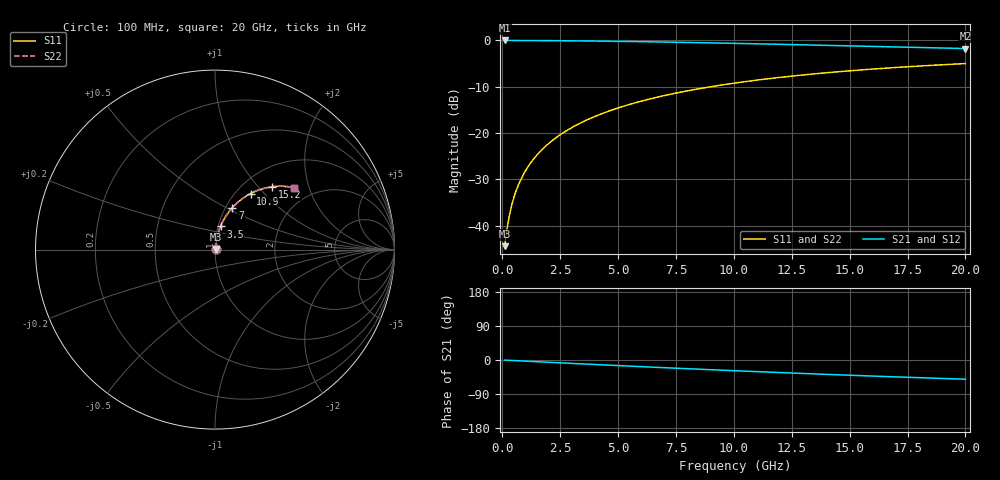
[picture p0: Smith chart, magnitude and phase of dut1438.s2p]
! Touchstone file exported from HFSS 2026.1.0
!  File:  C:/ffzhzh/LocalFiles/Ansys_Project_Files/temp_train_BSMRDL_1438_1783180516_22436.aedt
!  Generated:  11:56:35 PM Jul  4, 2026
!  Design:  BSMRDL
!  Project:  temp_train_BSMRDL_1438_1783180516_22436
! Variables:
!  h_bsmrdl = 4.55um
!  h_ox = 20um
!  h_rdl = 5um
!  h_sub = 80um
!  h_tmrdl = 5um
!  h_tsv = 80um
!  h_via = 3um
!  l_bsmrdl = 685.64um
!  l_sub = 1085.64um
!  l_tmrdl = 200um
!  m_sub = 200um
!  pitch = 53.37um
!  r_tsv = 6um
!  s_tmrdl = 10um
!  w_bsmrdl = 11.79um
!  w_sub = 500um
!  w_tmrdl = 12um
!  x_tsv_center1 = 206um
!  x_tsv_center2 = 903.43um
!  x_tsv_center3 = 1115.43um
!  x_tsv_center4 = 1812.86um
!  x_tsv_center5 = 2024.86um
!  x_tsv_center6 = 2722.29um
# GHz S MA R 50.000000
! Terminal data exported
! Port[1] = BSM_RDL1_1_T1
! Port[2] = BSM_RDL1_1_T2
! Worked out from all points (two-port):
!   200 points, 100 MHz to 20 GHz, reference 50 ohm
!   highest |S21| = -0.04 dB at 100 MHz (marker M1); lowest = -1.8 dB at 20 GHz (marker M2)
!   |S21| within 3 dB of the highest: start of sweep to end of sweep
!   lowest |S11| = -44.4 dB at 100 MHz (marker M3), VSWR 1.01, Z = 50.5 + j0.4 ohm
!   |S11| at or under -10 dB: start of sweep to 9.016 GHz
!   |S22| runs from -44.4 to -5.0 dB; largest |S21 - S12| = 4.5e-15
!   S11 on the Smith chart (normalised r, x): 100 MHz: 1.01, +0.01; 3.5 GHz: 1.03, +0.27; 7 GHz: 1.08, +0.54; 10.9 GHz: 1.17, +0.84; 15.2 GHz: 1.32, +1.19; 20 GHz: 1.60, +1.60
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0.1  0.006043 41.0  0.9955 -0.3  0.9955 -0.3  0.006043 41.0
! Gamma 0 0 0 0
! Port Impedance 50 0 50 0
0.2  0.009186 59.2  0.9954 -0.6  0.9954 -0.6  0.009186 59.2
0.3  0.01276 67.5  0.9952 -0.9  0.9952 -0.9  0.01276 67.5
0.4  0.01646 71.9  0.9951 -1.2  0.9951 -1.2  0.01646 71.9
0.5  0.02021 74.5  0.9949 -1.5  0.9949 -1.5  0.02021 74.5
0.6  0.02398 76.3  0.9948 -1.8  0.9948 -1.8  0.02398 76.3
0.8  0.03155 78.3  0.9945 -2.4  0.9945 -2.4  0.03155 78.3
1.1  0.04295 79.7  0.9939 -3.3  0.9939 -3.3  0.04295 79.7
1.5  0.05816 80.1  0.9929 -4.5  0.9929 -4.5  0.05816 80.1
2.1  0.08088 79.6  0.9909 -6.3  0.9909 -6.3  0.08087 79.6
2.7  0.1034 78.5  0.9884 -8.1  0.9884 -8.1  0.1034 78.5
3.5  0.1329 76.6  0.9843 -10.4  0.9843 -10.4  0.1329 76.6
5  0.1865 72.7  0.9743 -14.7  0.9743 -14.7  0.1865 72.7
6.8  0.2472 68.0  0.9593 -19.8  0.9593 -19.8  0.2472 68.0
7  0.2537 67.5  0.9575 -20.3  0.9575 -20.3  0.2537 67.5
8.5  0.3008 63.6  0.9429 -24.3  0.9429 -24.3  0.3007 63.6
10.1  0.3475 59.6  0.926 -28.5  0.926 -28.5  0.3475 59.6
10.9  0.3696 57.6  0.9171 -30.5  0.9171 -30.5  0.3696 57.6
13.4  0.4328 51.7  0.8886 -36.5  0.8886 -36.5  0.4328 51.8
15.2  0.4731 47.7  0.8678 -40.7  0.8678 -40.7  0.4731 47.8
16.7  0.5035 44.5  0.8506 -43.9  0.8506 -43.9  0.5034 44.6
20  0.5607 37.9  0.8145 -50.7  0.8145 -50.7  0.5606 37.9
